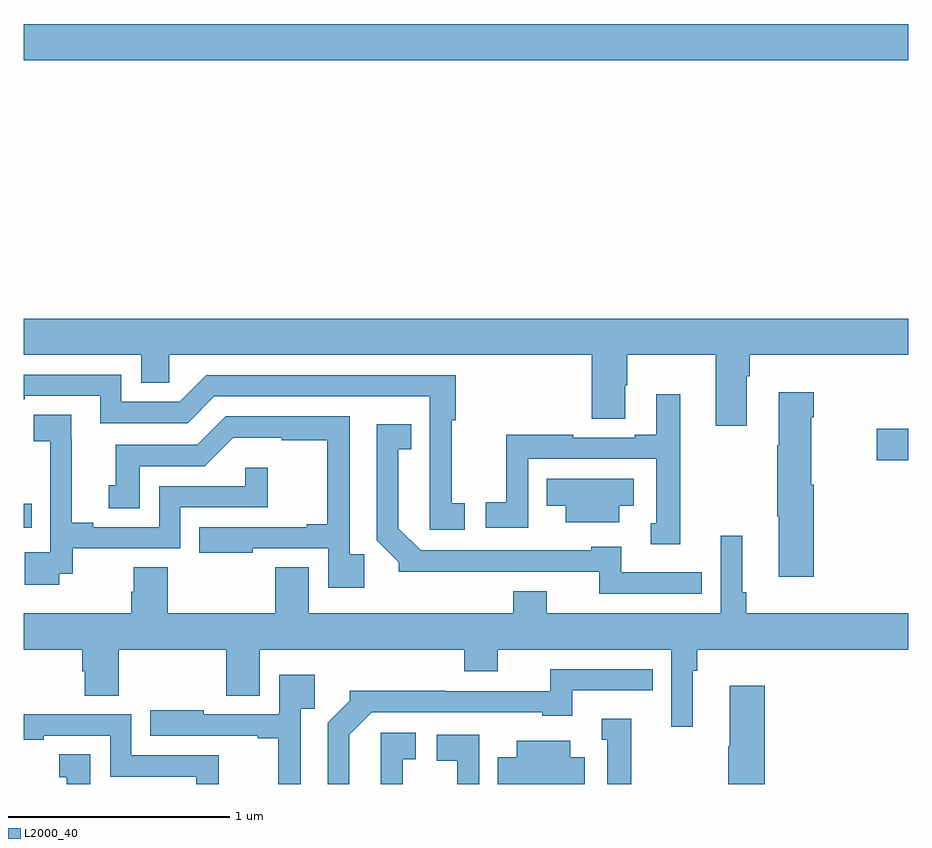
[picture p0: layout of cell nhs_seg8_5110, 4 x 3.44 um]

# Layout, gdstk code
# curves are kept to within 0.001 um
import gdstk
lib = gdstk.Library(unit=1e-6, precision=1e-09)
def R(c, l, rs):  # rectangles x0, y0, x1, y1
    for r in rs: c.add(gdstk.rectangle(r[:2], r[2:], *l))
def P(c, l, *ps):  # polygons
    for p in ps: c.add(gdstk.Polygon(p, *l))
L2000_40 = (2000, 40)

nhs_seg8_5110 = lib.new_cell('nhs_seg8_5110')
R(nhs_seg8_5110, L2000_40, [(419,1109.058,419.036,1109.167), (422.856,1109.363,423,1109.505), (419,1111.172,423,1111.336)])
P(nhs_seg8_5110, L2000_40, [(422.269,1109.744),(422.282,1109.744),(422.282,1109.84),(423,1109.84),(423,1110.004),(419,1110.004),(419,1109.84),(419.531,1109.84),(419.531,1109.713),(419.658,1109.713),(419.658,1109.84),(421.568,1109.84),(421.568,1109.551),(421.72,1109.551),(421.72,1109.702),(421.728,1109.702),(421.728,1109.84),(422.129,1109.84),(422.129,1109.52),(422.269,1109.52)],
  [(420.994,1109.169),(420.936,1109.169),(420.936,1109.545),(420.953,1109.545),(420.953,1109.748),(419.826,1109.748),(419.706,1109.628),(419.442,1109.628),(419.442,1109.751),(419,1109.751),(419,1109.64),(419.005,1109.64),(419.005,1109.655),(419.346,1109.655),(419.346,1109.532),(419.742,1109.532),(419.862,1109.652),(420.837,1109.652),(420.836,1109.049),(420.994,1109.049)],
  [(422.573,1109.253),(422.56,1109.253),(422.56,1109.558),(422.573,1109.558),(422.573,1109.671),(422.414,1109.671),(422.414,1109.432),(422.407,1109.432),(422.407,1109.11),(422.414,1109.11),(422.414,1108.836),(422.573,1108.836)],
  [(421.969,1109.662),(421.859,1109.662),(421.859,1109.479),(421.763,1109.479),(421.763,1109.466),(421.484,1109.466),(421.484,1109.479),(421.183,1109.479),(421.183,1109.174),(421.089,1109.174),(421.089,1109.058),(421.281,1109.058),(421.281,1109.37),(421.86,1109.37),(421.86,1109.079),(421.835,1109.079),(421.835,1108.985),(421.969,1108.985)],
  [(419.16,1108.851),(419.222,1108.851),(419.222,1108.965),(419.709,1108.965),(419.709,1109.151),(420.104,1109.151),(420.104,1109.329),(420.003,1109.329),(420.003,1109.247),(419.613,1109.247),(419.613,1109.061),(419.314,1109.061),(419.314,1109.081),(419.218,1109.081),(419.218,1109.459),(419.216,1109.459),(419.216,1109.57),(419.046,1109.57),(419.046,1109.449),(419.12,1109.449),(419.12,1109.251),(419.121,1109.251),(419.121,1108.947),(419.004,1108.947),(419.004,1108.8),(419.16,1108.8)],
  [(420.539,1108.939),(420.474,1108.939),(420.474,1109.562),(419.913,1109.562),(419.784,1109.433),(419.417,1109.433),(419.417,1109.25),(419.384,1109.25),(419.384,1109.146),(419.524,1109.146),(419.524,1109.337),(419.82,1109.337),(419.948,1109.465),(420.167,1109.465),(420.167,1109.454),(420.373,1109.454),(420.373,1109.074),(420.281,1109.074),(420.281,1109.061),(419.794,1109.061),(419.794,1108.946),(420.037,1108.946),(420.037,1108.965),(420.378,1108.965),(420.378,1108.788),(420.539,1108.788)],
  [(422.066,1108.857),(421.702,1108.857),(421.702,1108.972),(421.566,1108.972),(421.566,1108.956),(420.795,1108.956),(420.694,1109.057),(420.694,1109.414),(420.752,1109.414),(420.752,1109.527),(420.597,1109.527),(420.597,1109.002),(420.696,1108.903),(420.696,1108.859),(421.603,1108.86),(421.603,1108.761),(422.066,1108.761)],
  [(421.693,1109.159),(421.759,1109.159),(421.759,1109.281),(421.366,1109.281),(421.366,1109.159),(421.451,1109.159),(421.451,1109.084),(421.693,1109.084)],
  [(419.651,1108.88),(419.498,1108.88),(419.498,1108.77),(419.486,1108.77),(419.486,1108.672),(419,1108.672),(419,1108.508),(419.264,1108.508),(419.264,1108.41),(419.276,1108.41),(419.276,1108.3),(419.429,1108.3),(419.429,1108.508),(419.915,1108.508),(419.915,1108.3),(420.067,1108.3),(420.067,1108.508),(420.992,1108.508),(420.992,1108.409),(421.144,1108.409),(421.144,1108.508),(421.929,1108.508),(421.929,1108.158),(422.026,1108.158),(422.026,1108.412),(422.045,1108.412),(422.045,1108.508),(423,1108.508),(423,1108.672),(422.267,1108.672),(422.267,1108.768),(422.248,1108.768),(422.248,1109.023),(422.151,1109.023),(422.151,1108.672),(421.366,1108.672),(421.366,1108.771),(421.214,1108.771),(421.214,1108.672),(420.289,1108.672),(420.289,1108.88),(420.137,1108.88),(420.137,1108.672),(419.651,1108.672)],
  [(420.472,1108.123),(420.573,1108.224),(421.344,1108.224),(421.344,1108.208),(421.48,1108.208),(421.48,1108.323),(421.844,1108.323),(421.844,1108.419),(421.381,1108.419),(421.381,1108.32),(420.908,1108.32),(420.908,1108.322),(420.474,1108.322),(420.474,1108.277),(420.375,1108.178),(420.375,1107.9),(420.472,1107.9)],
  [(420.252,1108.241),(420.317,1108.241),(420.317,1108.393),(420.156,1108.393),(420.156,1108.215),(419.815,1108.215),(419.815,1108.234),(419.572,1108.234),(419.572,1108.119),(420.059,1108.119),(420.059,1108.107),(420.151,1108.107),(420.151,1107.9),(420.252,1107.9)],
  [(422.351,1108.345),(422.192,1108.345),(422.192,1108.07),(422.185,1108.07),(422.185,1107.9),(422.351,1107.9)],
  [(419.882,1108.029),(419.487,1108.029),(419.487,1108.215),(419,1108.215),(419,1108.099),(419.092,1108.099),(419.092,1108.119),(419.391,1108.119),(419.391,1107.933),(419.781,1107.933),(419.781,1107.9),(419.882,1107.9)],
  [(421.747,1108.195),(421.613,1108.195),(421.613,1108.101),(421.638,1108.101),(421.638,1107.9),(421.747,1107.9)],
  [(420.714,1108.011),(420.772,1108.011),(420.772,1108.132),(420.614,1108.132),(420.614,1107.9),(420.714,1107.9)],
  [(421.059,1108.122),(420.867,1108.122),(420.867,1108.006),(420.961,1108.006),(420.961,1107.9),(421.059,1107.9)],
  [(421.537,1108.021),(421.471,1108.021),(421.471,1108.096),(421.229,1108.096),(421.229,1108.021),(421.144,1108.021),(421.144,1107.9),(421.537,1107.9)],
  [(419.302,1108.034),(419.162,1108.034),(419.162,1107.931),(419.195,1107.931),(419.195,1107.9),(419.302,1107.9)])

lib.write_gds('nhs_seg8_5110.gds')
